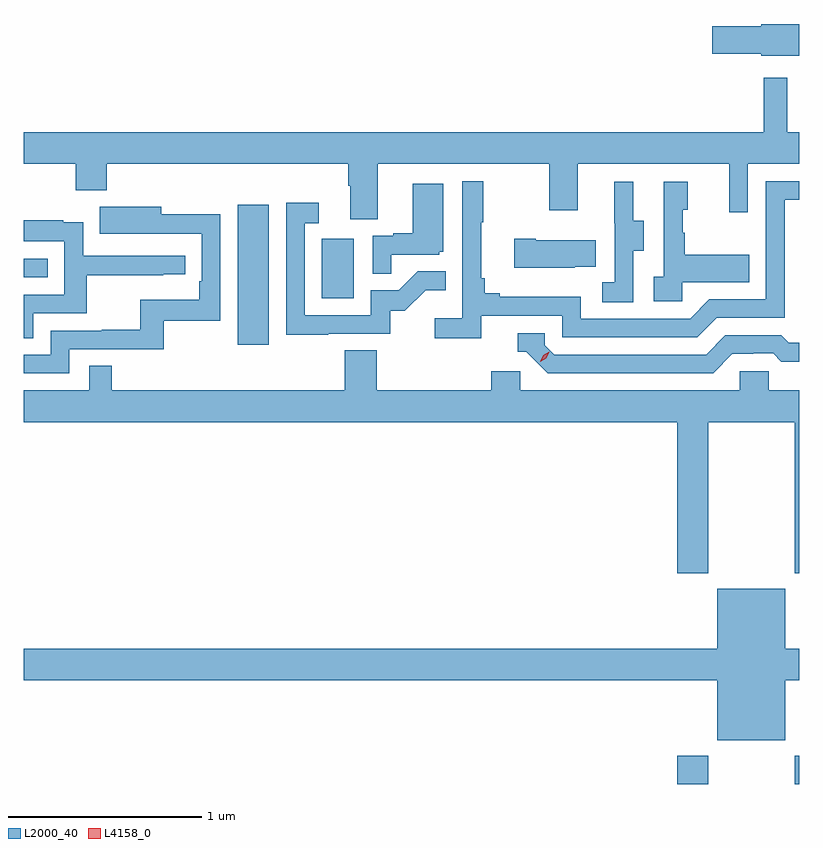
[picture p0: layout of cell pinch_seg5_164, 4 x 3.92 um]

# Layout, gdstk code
import gdstk
lib = gdstk.Library(unit=1e-6, precision=1e-09)
def R(c, l, rs):  # rectangles x0, y0, x1, y1
    for r in rs: c.add(gdstk.rectangle(r[:2], r[2:], *l))
def P(c, l, *ps):  # polygons
    for p in ps: c.add(gdstk.Polygon(p, *l))
L2000_40 = (2000, 40)
L4158_0 = (4158, 0)

pinch_seg5_164 = lib.new_cell('pinch_seg5_164')
R(pinch_seg5_164, L2000_40, [(1085.789,888.194,1085.949,888.34), (1086.394,888.194,1086.418,888.34), (1083.521,890.46,1083.682,891.181), (1083.956,890.7,1084.12,891.007), (1082.418,890.808,1082.543,890.904)])
P(pinch_seg5_164, L2000_40, [(1086.418,892.114),(1086.222,892.114),(1086.222,892.103),(1085.97,892.103),(1085.97,891.961),(1086.222,891.961),(1086.222,891.95),(1086.418,891.95)],
  [(1084.243,891.392),(1085.128,891.392),(1085.128,891.153),(1085.275,891.153),(1085.275,891.392),(1086.056,891.392),(1086.056,891.144),(1086.153,891.144),(1086.153,891.392),(1086.418,891.392),(1086.418,891.556),(1086.355,891.556),(1086.355,891.838),(1086.234,891.838),(1086.234,891.556),(1082.418,891.556),(1082.418,891.392),(1082.686,891.392),(1082.686,891.257),(1082.846,891.257),(1082.846,891.392),(1084.091,891.392),(1084.091,891.28),(1084.103,891.28),(1084.103,891.106),(1084.243,891.106)],
  [(1084.778,890.61),(1085.196,890.61),(1085.196,890.499),(1085.893,890.499),(1085.992,890.598),(1086.342,890.598),(1086.342,891.207),(1086.418,891.207),(1086.418,891.303),(1086.246,891.303),(1086.246,890.694),(1085.955,890.694),(1085.856,890.595),(1085.292,890.595),(1085.292,890.707),(1084.873,890.707),(1084.873,890.726),(1084.796,890.726),(1084.796,890.803),(1084.777,890.803),(1084.777,891.091),(1084.789,891.091),(1084.789,891.304),(1084.68,891.304),(1084.68,890.596),(1084.539,890.596),(1084.539,890.494),(1084.778,890.494)],
  [(1085.562,890.944),(1085.617,890.944),(1085.617,891.099),(1085.563,891.099),(1085.563,891.301),(1085.465,891.301),(1085.465,891.087),(1085.466,891.087),(1085.466,890.783),(1085.403,890.783),(1085.403,890.68),(1085.562,890.68)],
  [(1085.814,890.783),(1086.161,890.783),(1086.161,890.923),(1085.827,890.923),(1085.827,891.038),(1085.817,891.038),(1085.817,891.156),(1085.842,891.156),(1085.842,891.301),(1085.718,891.301),(1085.718,890.81),(1085.667,890.81),(1085.667,890.685),(1085.814,890.685)],
  [(1084.313,890.925),(1084.56,890.925),(1084.56,890.94),(1084.582,890.94),(1084.582,891.289),(1084.424,891.289),(1084.424,891.034),(1084.325,891.034),(1084.325,891.021),(1084.218,891.021),(1084.218,890.827),(1084.313,890.827)],
  [(1083.989,890.517),(1084.308,890.517),(1084.308,890.634),(1084.384,890.634),(1084.491,890.741),(1084.595,890.741),(1084.595,890.84),(1084.451,890.84),(1084.353,890.742),(1084.209,890.742),(1084.209,890.613),(1083.867,890.613),(1083.867,891.087),(1083.94,891.087),(1083.94,891.193),(1083.771,891.193),(1083.771,890.512),(1083.989,890.512)],
  [(1082.652,890.436),(1083.139,890.436),(1083.139,890.583),(1083.432,890.583),(1083.432,891.134),(1083.127,891.134),(1083.127,891.172),(1082.809,891.172),(1082.809,891.032),(1083.023,891.032),(1083.023,891.033),(1083.336,891.033),(1083.336,890.788),(1083.323,890.788),(1083.323,890.692),(1083.018,890.692),(1083.018,890.537),(1082.821,890.537),(1082.821,890.532),(1082.556,890.532),(1082.556,890.409),(1082.418,890.409),(1082.418,890.313),(1082.652,890.313)],
  [(1082.467,890.622),(1082.744,890.622),(1082.744,890.818),(1083.137,890.818),(1083.137,890.823),(1083.25,890.823),(1083.25,890.919),(1082.724,890.919),(1082.724,891.091),(1082.621,891.091),(1082.621,891.103),(1082.418,891.103),(1082.418,890.994),(1082.628,890.994),(1082.628,890.718),(1082.418,890.718),(1082.418,890.494),(1082.467,890.494)],
  [(1085.261,890.861),(1085.369,890.861),(1085.369,890.998),(1085.059,890.998),(1085.059,891.006),(1084.947,891.006),(1084.947,890.858),(1085.261,890.858)],
  [(1086.073,890.412),(1086.18,890.412),(1086.18,890.415),(1086.283,890.415),(1086.325,890.373),(1086.418,890.373),(1086.418,890.469),(1086.364,890.469),(1086.325,890.508),(1086.036,890.508),(1085.937,890.409),(1085.154,890.409),(1085.106,890.457),(1085.106,890.52),(1084.967,890.52),(1084.967,890.424),(1085.01,890.424),(1085.121,890.313),(1085.974,890.313)],
  [(1085.949,890.06),(1086.394,890.06),(1086.394,889.281),(1086.418,889.281),(1086.418,890.224),(1086.261,890.224),(1086.261,890.322),(1086.111,890.322),(1086.111,890.224),(1084.98,890.224),(1084.98,890.322),(1084.829,890.322),(1084.829,890.224),(1084.238,890.224),(1084.238,890.432),(1084.073,890.432),(1084.073,890.224),(1082.873,890.224),(1082.873,890.351),(1082.757,890.351),(1082.757,890.224),(1082.418,890.224),(1082.418,890.06),(1085.789,890.06),(1085.789,889.281),(1085.949,889.281)],
  [(1086.346,888.728),(1086.418,888.728),(1086.418,888.892),(1086.346,888.892),(1086.346,889.201),(1085.996,889.201),(1085.996,888.892),(1082.418,888.892),(1082.418,888.728),(1085.996,888.728),(1085.996,888.419),(1086.346,888.419)])
P(pinch_seg5_164, L4158_0, [(1085.081,890.372),(1085.081,890.372),(1085.098,890.405),(1085.129,890.424),(1085.129,890.424),(1085.129,890.424),(1085.112,890.391),(1085.081,890.372)])

lib.write_gds('pinch_seg5_164.gds')
